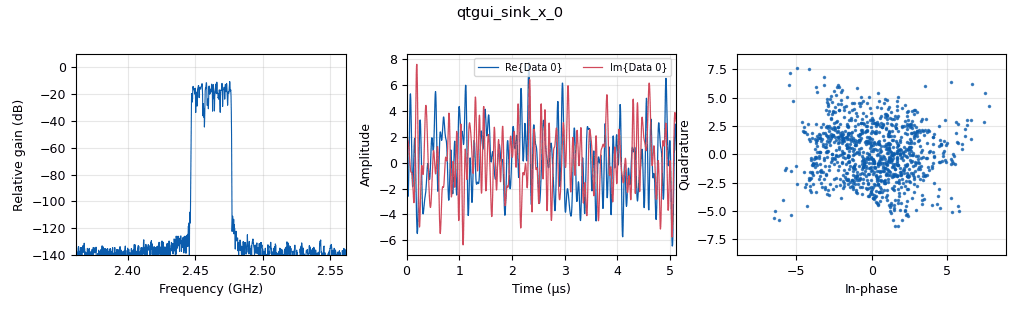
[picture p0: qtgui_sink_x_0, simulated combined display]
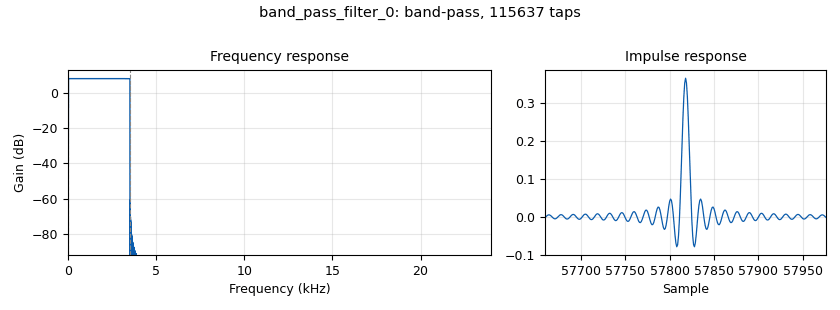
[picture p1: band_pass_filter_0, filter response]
options:
  parameters:
    author: Simon & Andreas
    generate_options: qt_gui
    id: Interference_transmitterV2
    output_language: python
    title: Interference Transmitter V2
  states: {}

blocks:
- name: rf_gain
  id: variable_qtgui_range
  parameters:
    label: RF Gain
    outputmsgname: value
    showports: 'False'
    start: '10'
    step: '1'
    stop: '90'
    value: '40'
  states: {}
- name: samp_rate
  id: variable_qtgui_range
  parameters:
    label: Sample rate
    outputmsgname: value
    showports: 'False'
    start: '20000'
    step: '100'
    stop: '100000'
    value: '48000'
  states: {}
- name: tuning
  id: variable_qtgui_range
  parameters:
    label: Frequency
    outputmsgname: value
    showports: 'False'
    start: '2450000000'
    step: '200000'
    stop: '2500000000'
    value: '2462000000'
  states: {}
- name: analog_fastnoise_source_x_0
  id: analog_fastnoise_source_x
  parameters:
    amp: '2.5'
    noise_type: analog.GR_GAUSSIAN
    samples: '8192'
    seed: '0'
    type: complex
  states: {}
- name: analog_noise_source_x_0
  id: analog_noise_source_x
  parameters:
    amp: '2.5'
    noise_type: analog.GR_GAUSSIAN
    seed: '0'
    type: complex
  states: {}
- name: analog_sig_source_x_0
  id: analog_sig_source_x
  parameters:
    amp: '2.5'
    freq: '20000'
    offset: '0'
    phase: '0'
    samp_rate: '48000'
    type: complex
    waveform: analog.GR_SQR_WAVE
  states: {}
- name: band_pass_filter_0
  id: band_pass_filter
  parameters:
    decim: '1'
    gain: '2.5'
    high_cutoff_freq: '3500'
    low_cutoff_freq: '1'
    samp_rate: '48000'
    type: fir_filter_ccf
    width: '1'
    win: window.WIN_HAMMING
  states: {}
- name: blocks_add_xx_0
  id: blocks_add_xx
  parameters:
    num_inputs: '3'
    type: complex
  states: {}
- name: channels_phase_noise_gen_0
  id: channels_phase_noise_gen
  parameters:
    alpha: '0.1'
    noise_mag: '0'
  states: {}
- name: qtgui_sink_x_0
  id: qtgui_sink_x
  parameters:
    bw: '200000000'
    fc: tuning
    fftsize: '1024'
    showports: 'True'
    showrf: 'True'
    type: complex
  states: {}
- name: uhd_usrp_sink_0
  id: uhd_usrp_sink
  parameters:
    ant0: '"TX/RX"'
    bw0: '200000000'
    center_freq0: tuning
    gain0: rf_gain
    samp_rate: samp_rate
    sync: none
    type: fc32
  states: {state: disabled}

connections:
- [analog_fastnoise_source_x_0, '0', channels_phase_noise_gen_0, '0']
- [analog_noise_source_x_0, '0', blocks_add_xx_0, '1']
- [analog_sig_source_x_0, '0', blocks_add_xx_0, '0']
- [band_pass_filter_0, '0', qtgui_sink_x_0, '0']
- [band_pass_filter_0, '0', uhd_usrp_sink_0, '0']
- [blocks_add_xx_0, '0', band_pass_filter_0, '0']
- [channels_phase_noise_gen_0, '0', blocks_add_xx_0, '2']
- [qtgui_sink_x_0, freq, uhd_usrp_sink_0, command]

metadata:
  file_format: 1
  grc_version: 3.10.4.0
